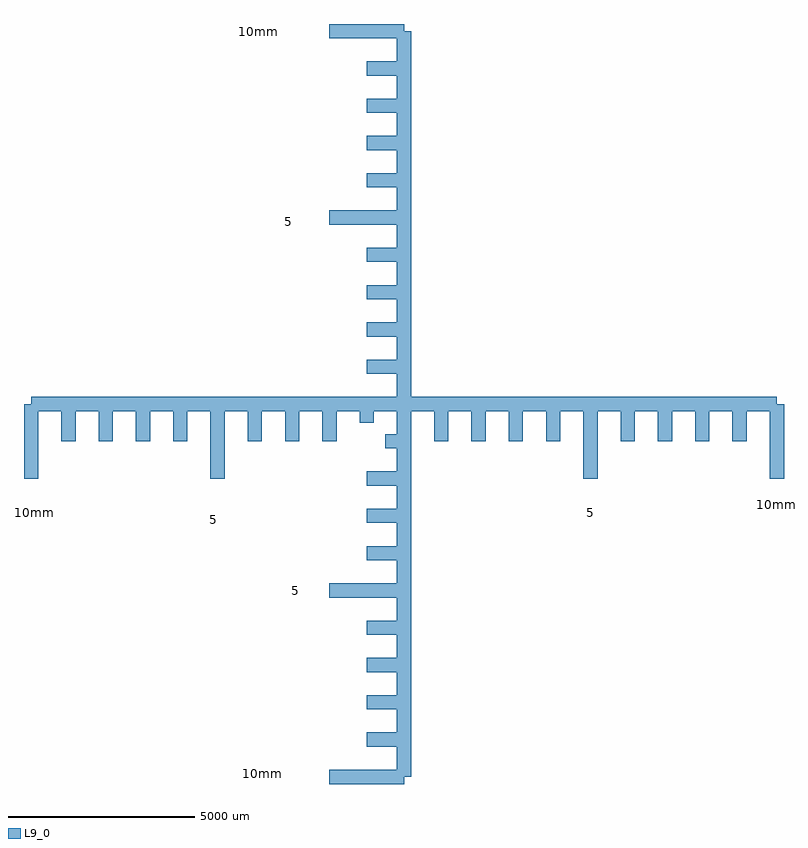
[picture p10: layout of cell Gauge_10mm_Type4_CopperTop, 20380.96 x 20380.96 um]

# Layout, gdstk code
import gdstk
lib = gdstk.Library(unit=1e-6, precision=1e-09)
L9_0 = (9, 0)

gauge_10mm_type4_coppert = lib.new_cell('Gauge_10mm_Type4_CopperTop')
gauge_10mm_type4_coppert.add(gdstk.FlexPath([(9999.98,0),(9999.98,-1998.98)], 380.998, ends="flush", simple_path=True, layer=9, datatype=0))  # L9_0
gauge_10mm_type4_coppert.add(gdstk.FlexPath([(0,0),(9999.98,0)], 380.998, ends="flush", simple_path=True, layer=9, datatype=0))  # L9_0
gauge_10mm_type4_coppert.add(gdstk.FlexPath([(0,0),(0,-1998.98)], 380.998, ends="flush", simple_path=True, layer=9, datatype=0))  # L9_0
gauge_10mm_type4_coppert.add(gdstk.FlexPath([(5001.26,0),(5001.26,-1998.98)], 380.998, ends="flush", simple_path=True, layer=9, datatype=0))  # L9_0
gauge_10mm_type4_coppert.add(gdstk.FlexPath([(1000.76,0),(1000.76,-1000.76)], 380.998, ends="flush", simple_path=True, layer=9, datatype=0))  # L9_0
gauge_10mm_type4_coppert.add(gdstk.FlexPath([(1998.98,0),(1998.98,-1000.76)], 380.998, ends="flush", simple_path=True, layer=9, datatype=0))  # L9_0
gauge_10mm_type4_coppert.add(gdstk.FlexPath([(2999.74,0),(2999.74,-1000.76)], 380.998, ends="flush", simple_path=True, layer=9, datatype=0))  # L9_0
gauge_10mm_type4_coppert.add(gdstk.FlexPath([(4000.5,0),(4000.5,-1000.76)], 380.998, ends="flush", simple_path=True, layer=9, datatype=0))  # L9_0
gauge_10mm_type4_coppert.add(gdstk.FlexPath([(5999.48,0),(5999.48,-1000.76)], 380.998, ends="flush", simple_path=True, layer=9, datatype=0))  # L9_0
gauge_10mm_type4_coppert.add(gdstk.FlexPath([(7000.24,0),(7000.24,-1000.76)], 380.998, ends="flush", simple_path=True, layer=9, datatype=0))  # L9_0
gauge_10mm_type4_coppert.add(gdstk.FlexPath([(8001,0),(8001,-1000.76)], 380.998, ends="flush", simple_path=True, layer=9, datatype=0))  # L9_0
gauge_10mm_type4_coppert.add(gdstk.FlexPath([(8999.22,0),(8999.22,-1000.76)], 380.998, ends="flush", simple_path=True, layer=9, datatype=0))  # L9_0
gauge_10mm_type4_coppert.add(gdstk.FlexPath([(0,0),(0,9999.98)], 380.998, ends="flush", simple_path=True, layer=9, datatype=0))  # L9_0
gauge_10mm_type4_coppert.add(gdstk.FlexPath([(0,9999.98),(-1998.98,9999.98)], 380.998, ends="flush", simple_path=True, layer=9, datatype=0))  # L9_0
gauge_10mm_type4_coppert.add(gdstk.FlexPath([(0,5001.26),(-1998.98,5001.26)], 380.998, ends="flush", simple_path=True, layer=9, datatype=0))  # L9_0
gauge_10mm_type4_coppert.add(gdstk.FlexPath([(0,1000.76),(-1000.76,1000.76)], 380.998, ends="flush", simple_path=True, layer=9, datatype=0))  # L9_0
gauge_10mm_type4_coppert.add(gdstk.FlexPath([(0,1998.98),(-1000.76,1998.98)], 380.998, ends="flush", simple_path=True, layer=9, datatype=0))  # L9_0
gauge_10mm_type4_coppert.add(gdstk.FlexPath([(0,2999.74),(-1000.76,2999.74)], 380.998, ends="flush", simple_path=True, layer=9, datatype=0))  # L9_0
gauge_10mm_type4_coppert.add(gdstk.FlexPath([(0,4000.5),(-1000.76,4000.5)], 380.998, ends="flush", simple_path=True, layer=9, datatype=0))  # L9_0
gauge_10mm_type4_coppert.add(gdstk.FlexPath([(0,5999.48),(-1000.76,5999.48)], 380.998, ends="flush", simple_path=True, layer=9, datatype=0))  # L9_0
gauge_10mm_type4_coppert.add(gdstk.FlexPath([(0,7000.24),(-1000.76,7000.24)], 380.998, ends="flush", simple_path=True, layer=9, datatype=0))  # L9_0
gauge_10mm_type4_coppert.add(gdstk.FlexPath([(0,8001),(-1000.76,8001)], 380.998, ends="flush", simple_path=True, layer=9, datatype=0))  # L9_0
gauge_10mm_type4_coppert.add(gdstk.FlexPath([(0,8999.22),(-1000.76,8999.22)], 380.998, ends="flush", simple_path=True, layer=9, datatype=0))  # L9_0
gauge_10mm_type4_coppert.add(gdstk.FlexPath([(0,0),(-9999.98,0)], 380.998, ends="flush", simple_path=True, layer=9, datatype=0))  # L9_0
gauge_10mm_type4_coppert.add(gdstk.FlexPath([(-9999.98,0),(-9999.98,-1998.98)], 380.998, ends="flush", simple_path=True, layer=9, datatype=0))  # L9_0
gauge_10mm_type4_coppert.add(gdstk.FlexPath([(-5001.26,0),(-5001.26,-1998.98)], 380.998, ends="flush", simple_path=True, layer=9, datatype=0))  # L9_0
gauge_10mm_type4_coppert.add(gdstk.FlexPath([(-1998.98,0),(-1998.98,-1000.76)], 380.998, ends="flush", simple_path=True, layer=9, datatype=0))  # L9_0
gauge_10mm_type4_coppert.add(gdstk.FlexPath([(-2999.74,0),(-2999.74,-1000.76)], 380.998, ends="flush", simple_path=True, layer=9, datatype=0))  # L9_0
gauge_10mm_type4_coppert.add(gdstk.FlexPath([(-4000.5,0),(-4000.5,-1000.76)], 380.998, ends="flush", simple_path=True, layer=9, datatype=0))  # L9_0
gauge_10mm_type4_coppert.add(gdstk.FlexPath([(-5999.48,0),(-5999.48,-1000.76)], 380.998, ends="flush", simple_path=True, layer=9, datatype=0))  # L9_0
gauge_10mm_type4_coppert.add(gdstk.FlexPath([(-7000.24,0),(-7000.24,-1000.76)], 380.998, ends="flush", simple_path=True, layer=9, datatype=0))  # L9_0
gauge_10mm_type4_coppert.add(gdstk.FlexPath([(-8001,0),(-8001,-1000.76)], 380.998, ends="flush", simple_path=True, layer=9, datatype=0))  # L9_0
gauge_10mm_type4_coppert.add(gdstk.FlexPath([(-8999.22,0),(-8999.22,-1000.76)], 380.998, ends="flush", simple_path=True, layer=9, datatype=0))  # L9_0
gauge_10mm_type4_coppert.add(gdstk.FlexPath([(0,-9999.98),(-1998.98,-9999.98)], 380.998, ends="flush", simple_path=True, layer=9, datatype=0))  # L9_0
gauge_10mm_type4_coppert.add(gdstk.FlexPath([(0,-1998.98),(0,-9999.98)], 380.998, ends="flush", simple_path=True, layer=9, datatype=0))  # L9_0
gauge_10mm_type4_coppert.add(gdstk.FlexPath([(0,-5001.26),(-1998.98,-5001.26)], 380.998, ends="flush", simple_path=True, layer=9, datatype=0))  # L9_0
gauge_10mm_type4_coppert.add(gdstk.FlexPath([(0,-1000.76),(-500.38,-1000.76)], 380.998, ends="flush", simple_path=True, layer=9, datatype=0))  # L9_0
gauge_10mm_type4_coppert.add(gdstk.FlexPath([(-1000.76,0),(-1000.76,-500.38)], 380.998, ends="flush", simple_path=True, layer=9, datatype=0))  # L9_0
gauge_10mm_type4_coppert.add(gdstk.FlexPath([(0,-1998.98),(-1000.76,-1998.98)], 380.998, ends="flush", simple_path=True, layer=9, datatype=0))  # L9_0
gauge_10mm_type4_coppert.add(gdstk.FlexPath([(0,-2999.74),(-1000.76,-2999.74)], 380.998, ends="flush", simple_path=True, layer=9, datatype=0))  # L9_0
gauge_10mm_type4_coppert.add(gdstk.FlexPath([(0,-4000.5),(-1000.76,-4000.5)], 380.998, ends="flush", simple_path=True, layer=9, datatype=0))  # L9_0
gauge_10mm_type4_coppert.add(gdstk.FlexPath([(0,-5999.48),(-1000.76,-5999.48)], 380.998, ends="flush", simple_path=True, layer=9, datatype=0))  # L9_0
gauge_10mm_type4_coppert.add(gdstk.FlexPath([(0,-7000.24),(-1000.76,-7000.24)], 380.998, ends="flush", simple_path=True, layer=9, datatype=0))  # L9_0
gauge_10mm_type4_coppert.add(gdstk.FlexPath([(0,-8001),(-1000.76,-8001)], 380.998, ends="flush", simple_path=True, layer=9, datatype=0))  # L9_0
gauge_10mm_type4_coppert.add(gdstk.FlexPath([(0,-8999.22),(-1000.76,-8999.22)], 380.998, ends="flush", simple_path=True, layer=9, datatype=0))  # L9_0
gauge_10mm_type4_coppert.add(gdstk.Label('10mm', (9999.98,-2700.02), layer=9, texttype=0))
gauge_10mm_type4_coppert.add(gdstk.Label('5', (4998.72,-2900.68), layer=9, texttype=0))
gauge_10mm_type4_coppert.add(gdstk.Label('5', (-3101.34,4899.66), layer=9, texttype=0))
gauge_10mm_type4_coppert.add(gdstk.Label('10mm', (-3901.44,9999.98), layer=9, texttype=0))
gauge_10mm_type4_coppert.add(gdstk.Label('5', (-2900.68,-4998.72), layer=9, texttype=0))
gauge_10mm_type4_coppert.add(gdstk.Label('5', (-5100.32,-3098.8), layer=9, texttype=0))
gauge_10mm_type4_coppert.add(gdstk.Label('10mm', (-3799.84,-9900.92), layer=9, texttype=0))
gauge_10mm_type4_coppert.add(gdstk.Label('10mm', (-9898.38,-2900.68), layer=9, texttype=0))
gauge_10mm_type4_coppert.add(gdstk.Label('type', (1198.88,-13700.76), layer=9, texttype=0))
gauge_10mm_type4_coppert.add(gdstk.Label('devicename', (-800.1,14000.48), layer=9, texttype=0))

lib.write_gds('Gauge_10mm_Type4_CopperTop.gds')
